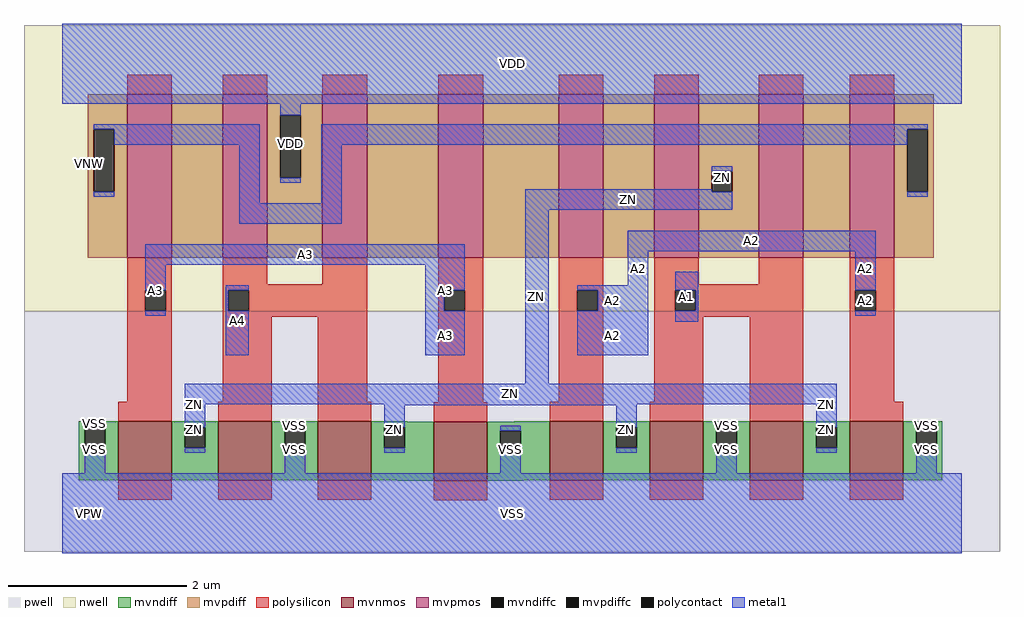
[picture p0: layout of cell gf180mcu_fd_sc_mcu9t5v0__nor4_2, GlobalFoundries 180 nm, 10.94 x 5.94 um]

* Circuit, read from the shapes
.subckt gf180mcu_fd_sc_mcu9t5v0__nor4_2 A1 A2 A3 A4 ZN VDD VNW VPW VSS
XM1 ZN A3 VSS VPW nfet_06v0 w=0.66u l=0.6u m=2
XM2 VSS A4 ZN VPW nfet_06v0 w=0.66u l=0.6u m=2
XM3 ZN A2 VSS VPW nfet_06v0 w=0.66u l=0.6u m=2
XM4 VSS A1 ZN VPW nfet_06v0 w=0.66u l=0.6u m=2
XM5 n1 A3 n2 VNW pfet_06v0 w=1.83u l=0.5u
XM6 VDD A4 n1 VNW pfet_06v0 w=1.83u l=0.5u
XM7 n3 A4 VDD VNW pfet_06v0 w=1.83u l=0.5u
XM8 n4 A3 n3 VNW pfet_06v0 w=1.83u l=0.5u
XM9 n5 A2 n4 VNW pfet_06v0 w=1.83u l=0.5u
XM10 ZN A1 n5 VNW pfet_06v0 w=1.83u l=0.5u
XM11 n6 A1 ZN VNW pfet_06v0 w=1.83u l=0.5u
XM12 n2 A2 n6 VNW pfet_06v0 w=1.83u l=0.5u
.ends

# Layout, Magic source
magic
tech gf180mcuD
magscale 1 10
<< nwell >>
rect -86 453 2102 1094
<< pwell >>
rect -86 -86 2102 453
<< mvnmos >>
rect 125 74 245 206
rect 349 74 469 206
rect 573 74 693 206
rect 833 73 953 205
rect 1093 74 1213 206
rect 1317 74 1437 206
rect 1541 74 1661 206
rect 1765 74 1885 206
<< mvpmos >>
rect 145 573 245 939
rect 359 573 459 939
rect 583 573 683 939
rect 843 573 943 939
rect 1113 573 1213 939
rect 1327 573 1427 939
rect 1561 573 1661 939
rect 1765 573 1865 939
<< mvndiff >>
rect 37 193 125 206
rect 37 147 50 193
rect 96 147 125 193
rect 37 74 125 147
rect 245 193 349 206
rect 245 147 274 193
rect 320 147 349 193
rect 245 74 349 147
rect 469 188 573 206
rect 469 142 498 188
rect 544 142 573 188
rect 469 74 573 142
rect 693 205 773 206
rect 1013 205 1093 206
rect 693 193 833 205
rect 693 147 722 193
rect 768 147 833 193
rect 693 74 833 147
rect 753 73 833 74
rect 953 185 1093 205
rect 953 139 982 185
rect 1028 139 1093 185
rect 953 74 1093 139
rect 1213 193 1317 206
rect 1213 147 1242 193
rect 1288 147 1317 193
rect 1213 74 1317 147
rect 1437 188 1541 206
rect 1437 142 1466 188
rect 1512 142 1541 188
rect 1437 74 1541 142
rect 1661 193 1765 206
rect 1661 147 1690 193
rect 1736 147 1765 193
rect 1661 74 1765 147
rect 1885 188 1973 206
rect 1885 142 1914 188
rect 1960 142 1973 188
rect 1885 74 1973 142
rect 953 73 1033 74
<< mvpdiff >>
rect 57 861 145 939
rect 57 721 70 861
rect 116 721 145 861
rect 57 573 145 721
rect 245 573 359 939
rect 459 892 583 939
rect 459 752 488 892
rect 534 752 583 892
rect 459 573 583 752
rect 683 573 843 939
rect 943 573 1113 939
rect 1213 573 1327 939
rect 1427 767 1561 939
rect 1427 721 1456 767
rect 1502 721 1561 767
rect 1427 573 1561 721
rect 1661 573 1765 939
rect 1865 861 1953 939
rect 1865 721 1894 861
rect 1940 721 1953 861
rect 1865 573 1953 721
<< mvndiffc >>
rect 50 147 96 193
rect 274 147 320 193
rect 498 142 544 188
rect 722 147 768 193
rect 982 139 1028 185
rect 1242 147 1288 193
rect 1466 142 1512 188
rect 1690 147 1736 193
rect 1914 142 1960 188
<< mvpdiffc >>
rect 70 721 116 861
rect 488 752 534 892
rect 1456 721 1502 767
rect 1894 721 1940 861
<< polysilicon >>
rect 145 939 245 983
rect 359 939 459 983
rect 583 939 683 983
rect 843 939 943 983
rect 1113 939 1213 983
rect 1327 939 1427 983
rect 1561 939 1661 983
rect 1765 939 1865 983
rect 145 500 245 573
rect 145 454 186 500
rect 232 454 245 500
rect 145 250 245 454
rect 359 513 459 573
rect 583 513 683 573
rect 359 500 683 513
rect 359 454 372 500
rect 418 454 683 500
rect 359 441 683 454
rect 359 250 469 441
rect 125 206 245 250
rect 349 206 469 250
rect 573 250 683 441
rect 843 500 943 573
rect 843 454 856 500
rect 902 454 943 500
rect 573 206 693 250
rect 843 249 943 454
rect 1113 500 1213 573
rect 1113 454 1154 500
rect 1200 454 1213 500
rect 1113 250 1213 454
rect 1327 513 1427 573
rect 1561 513 1661 573
rect 1327 500 1661 513
rect 1327 454 1374 500
rect 1420 454 1661 500
rect 1327 441 1661 454
rect 1327 250 1437 441
rect 833 205 953 249
rect 1093 206 1213 250
rect 1317 206 1437 250
rect 1541 206 1661 441
rect 1765 500 1865 573
rect 1765 454 1778 500
rect 1824 454 1865 500
rect 1765 250 1865 454
rect 1765 206 1885 250
rect 125 30 245 74
rect 349 30 469 74
rect 573 30 693 74
rect 833 29 953 73
rect 1093 30 1213 74
rect 1317 30 1437 74
rect 1541 30 1661 74
rect 1765 30 1885 74
<< polycontact >>
rect 186 454 232 500
rect 372 454 418 500
rect 856 454 902 500
rect 1154 454 1200 500
rect 1374 454 1420 500
rect 1778 454 1824 500
<< metal1 >>
rect 0 918 2016 1098
rect 488 892 534 918
rect 70 861 442 872
rect 116 826 442 861
rect 70 710 116 721
rect 396 695 442 826
rect 488 741 534 752
rect 580 861 1940 872
rect 580 826 1894 861
rect 580 695 626 826
rect 1456 767 1502 778
rect 396 649 626 695
rect 1038 721 1456 726
rect 1038 680 1502 721
rect 1894 710 1940 721
rect 186 557 902 603
rect 186 500 232 557
rect 186 443 232 454
rect 366 500 418 511
rect 366 454 372 500
rect 366 354 418 454
rect 814 500 902 557
rect 814 454 856 500
rect 814 354 902 454
rect 1038 291 1090 680
rect 1268 588 1824 634
rect 1268 511 1314 588
rect 1154 500 1314 511
rect 1200 454 1314 500
rect 1154 354 1314 454
rect 1374 500 1426 542
rect 1420 454 1426 500
rect 1374 430 1426 454
rect 1778 500 1824 588
rect 1778 443 1824 454
rect 274 245 1736 291
rect 50 193 96 204
rect 50 90 96 147
rect 274 193 320 245
rect 722 242 1288 245
rect 274 136 320 147
rect 498 188 544 199
rect 498 90 544 142
rect 722 193 768 242
rect 722 136 768 147
rect 982 185 1028 196
rect 982 90 1028 139
rect 1242 193 1288 242
rect 1242 136 1288 147
rect 1466 188 1512 199
rect 1466 90 1512 142
rect 1690 193 1736 245
rect 1690 136 1736 147
rect 1914 188 1960 199
rect 1914 90 1960 142
rect 0 -90 2016 90
<< labels >>
flabel metal1 s 1374 430 1426 542 0 FreeSans 200 0 0 0 A1
port 1 nsew default input
flabel metal1 s 1268 588 1824 634 0 FreeSans 200 0 0 0 A2
port 2 nsew default input
flabel metal1 s 186 557 902 603 0 FreeSans 200 0 0 0 A3
port 3 nsew default input
flabel metal1 s 366 354 418 511 0 FreeSans 200 0 0 0 A4
port 4 nsew default input
flabel metal1 s 0 918 2016 1098 0 FreeSans 200 0 0 0 VDD
port 6 nsew power bidirectional abutment
flabel metal1 s 50 199 96 204 0 FreeSans 200 0 0 0 VSS
port 9 nsew ground bidirectional abutment
flabel metal1 s 1456 726 1502 778 0 FreeSans 200 0 0 0 ZN
port 5 nsew default output
flabel nwell s 10 734 110 834 0 FreeSans 400 0 0 0 VNW
port 7 nsew power bidirectional
flabel pwell s 10 -50 110 50 0 FreeSans 400 0 0 0 VPW
port 8 nsew ground bidirectional
rlabel metal1 s 1778 511 1824 588 1 A2
port 2 nsew default input
rlabel metal1 s 1268 511 1314 588 1 A2
port 2 nsew default input
rlabel metal1 s 1778 443 1824 511 1 A2
port 2 nsew default input
rlabel metal1 s 1154 443 1314 511 1 A2
port 2 nsew default input
rlabel metal1 s 1154 354 1314 443 1 A2
port 2 nsew default input
rlabel metal1 s 814 443 902 557 1 A3
port 3 nsew default input
rlabel metal1 s 186 443 232 557 1 A3
port 3 nsew default input
rlabel metal1 s 814 354 902 443 1 A3
port 3 nsew default input
rlabel metal1 s 1038 680 1502 726 1 ZN
port 5 nsew default output
rlabel metal1 s 1038 291 1090 680 1 ZN
port 5 nsew default output
rlabel metal1 s 274 245 1736 291 1 ZN
port 5 nsew default output
rlabel metal1 s 1690 242 1736 245 1 ZN
port 5 nsew default output
rlabel metal1 s 722 242 1288 245 1 ZN
port 5 nsew default output
rlabel metal1 s 274 242 320 245 1 ZN
port 5 nsew default output
rlabel metal1 s 1690 136 1736 242 1 ZN
port 5 nsew default output
rlabel metal1 s 1242 136 1288 242 1 ZN
port 5 nsew default output
rlabel metal1 s 722 136 768 242 1 ZN
port 5 nsew default output
rlabel metal1 s 274 136 320 242 1 ZN
port 5 nsew default output
rlabel metal1 s 488 741 534 918 1 VDD
port 6 nsew power bidirectional abutment
rlabel metal1 s 1914 196 1960 199 1 VSS
port 9 nsew ground bidirectional abutment
rlabel metal1 s 1466 196 1512 199 1 VSS
port 9 nsew ground bidirectional abutment
rlabel metal1 s 498 196 544 199 1 VSS
port 9 nsew ground bidirectional abutment
rlabel metal1 s 50 196 96 199 1 VSS
port 9 nsew ground bidirectional abutment
rlabel metal1 s 1914 90 1960 196 1 VSS
port 9 nsew ground bidirectional abutment
rlabel metal1 s 1466 90 1512 196 1 VSS
port 9 nsew ground bidirectional abutment
rlabel metal1 s 982 90 1028 196 1 VSS
port 9 nsew ground bidirectional abutment
rlabel metal1 s 498 90 544 196 1 VSS
port 9 nsew ground bidirectional abutment
rlabel metal1 s 50 90 96 196 1 VSS
port 9 nsew ground bidirectional abutment
rlabel metal1 s 0 -90 2016 90 1 VSS
port 9 nsew ground bidirectional abutment
<< properties >>
string FIXED_BBOX 0 0 2016 1008
string GDS_END 106524
string GDS_FILE $PDKPATH/libs.ref/gf180mcu_fd_sc_mcu9t5v0/gds/gf180mcu_fd_sc_mcu9t5v0.gds
string GDS_START 101900
string LEFclass core
string LEFsite GF018hv5v_green_sc9
string LEFsymmetry X Y
<< end >>
